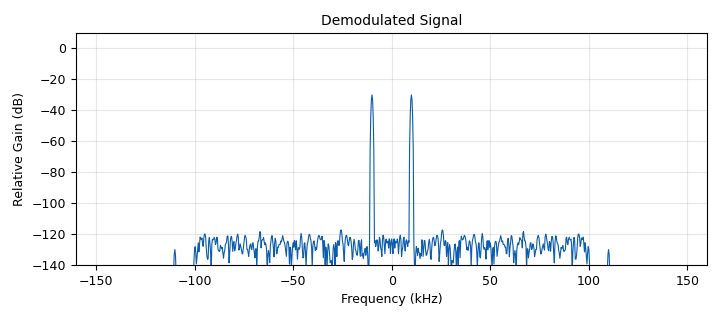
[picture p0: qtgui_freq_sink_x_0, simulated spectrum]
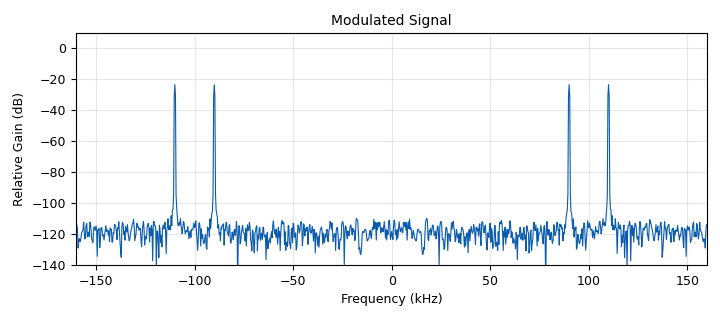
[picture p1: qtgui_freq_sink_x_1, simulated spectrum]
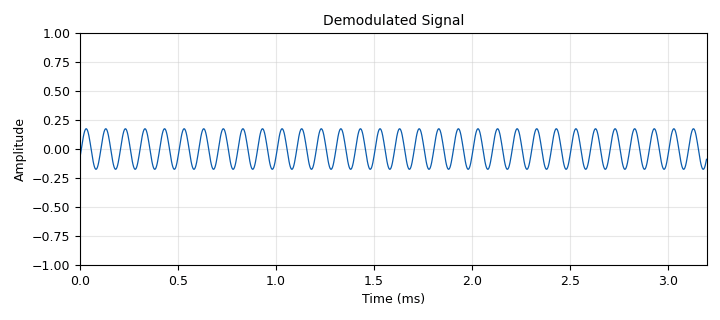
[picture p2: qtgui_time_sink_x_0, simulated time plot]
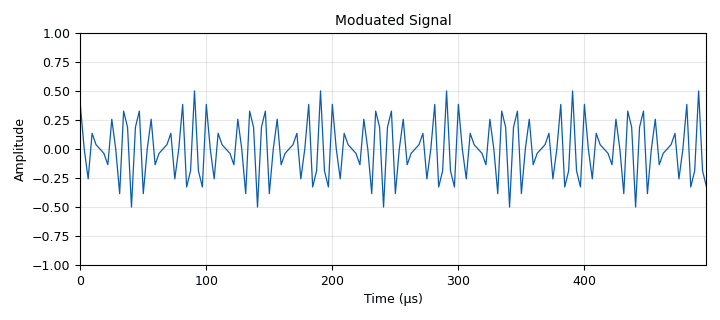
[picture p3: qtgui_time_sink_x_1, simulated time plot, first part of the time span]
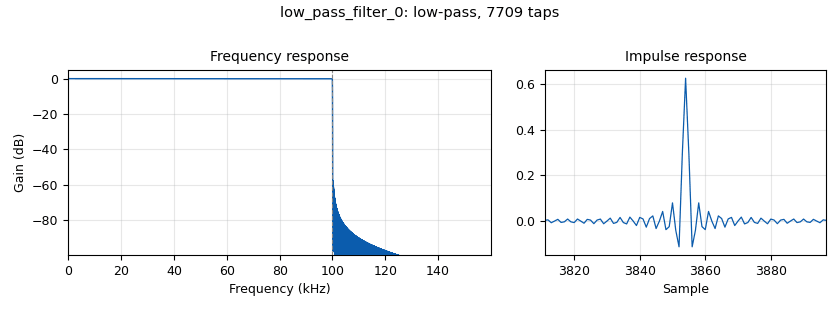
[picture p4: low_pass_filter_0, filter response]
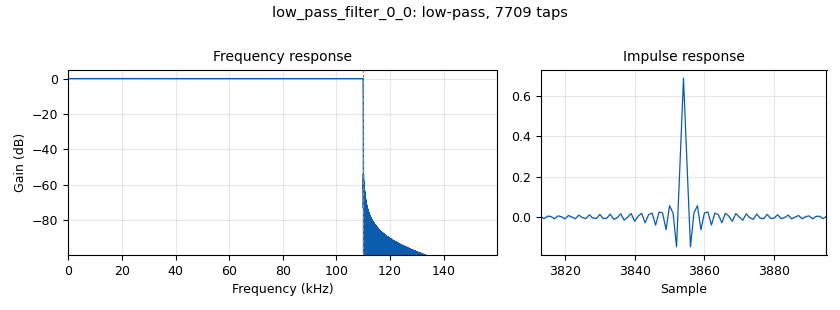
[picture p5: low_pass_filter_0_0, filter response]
options:
  parameters:
    author: Team-12
    generate_options: qt_gui
    id: DSBSC
    output_language: python
    title: DSBSC
  states: {}

blocks:
- name: Message_sig
  id: variable
  parameters:
    value: '10000'
  states: {}
- name: carrier_freq
  id: variable
  parameters:
    value: '100000'
  states: {}
- name: samp_rate
  id: variable
  parameters:
    value: '320000'
  states: {}
- name: uiselect
  id: variable_qtgui_chooser
  parameters:
    label0: Output with Noise
    label1: Output without Noise
    num_opts: '2'
    option0: '0'
    option1: '1'
    type: real
    value: '0'
  states: {}
- name: analog_sig_source_x_0
  id: analog_sig_source_x
  parameters:
    amp: '1'
    freq: Message_sig
    offset: '0'
    phase: '0'
    samp_rate: samp_rate
    type: float
    waveform: analog.GR_COS_WAVE
  states: {}
- name: analog_sig_source_x_1
  id: analog_sig_source_x
  parameters:
    amp: '1'
    freq: carrier_freq
    offset: '0'
    phase: '0'
    samp_rate: samp_rate
    type: float
    waveform: analog.GR_COS_WAVE
  states: {}
- name: analog_sig_source_x_1_0
  id: analog_sig_source_x
  parameters:
    amp: '1'
    freq: carrier_freq
    offset: '0'
    phase: '0'
    samp_rate: samp_rate
    type: float
    waveform: analog.GR_COS_WAVE
  states: {}
- name: blocks_complex_to_float_0
  id: blocks_complex_to_float
  parameters: {}
  states: {}
- name: blocks_float_to_complex_0
  id: blocks_float_to_complex
  parameters: {}
  states: {}
- name: blocks_multiply_const_vxx_0
  id: blocks_multiply_const_vxx
  parameters:
    const: '0.5'
    type: float
  states: {}
- name: blocks_multiply_xx_0
  id: blocks_multiply_xx
  parameters:
    type: float
  states: {}
- name: blocks_multiply_xx_1
  id: blocks_multiply_xx
  parameters:
    type: float
  states: {}
- name: blocks_selector_0
  id: blocks_selector
  parameters:
    enabled: 'True'
    input_index: uiselect
    num_inputs: '2'
    num_outputs: '1'
    output_index: '0'
    type: float
  states: {}
- name: blocks_throttle_0
  id: blocks_throttle
  parameters:
    samples_per_second: samp_rate
    type: float
  states: {}
- name: blocks_throttle_0_0
  id: blocks_throttle
  parameters:
    samples_per_second: samp_rate
    type: float
  states: {}
- name: channels_channel_model_0
  id: channels_channel_model
  parameters:
    epsilon: '1.0'
    freq_offset: '0.0'
    noise_voltage: '100e-6'
    seed: '0'
    taps: 1.0 + 1.0j
  states: {}
- name: low_pass_filter_0
  id: low_pass_filter
  parameters:
    cutoff_freq: carrier_freq
    decim: '1'
    gain: '1'
    samp_rate: samp_rate
    type: fir_filter_fff
    width: '100'
    win: firdes.WIN_HAMMING
  states: {}
- name: low_pass_filter_0_0
  id: low_pass_filter
  parameters:
    cutoff_freq: '110000'
    decim: '1'
    gain: '1'
    samp_rate: samp_rate
    type: fir_filter_fff
    width: '100'
    win: firdes.WIN_HAMMING
  states: {}
- name: qtgui_freq_sink_x_0
  id: qtgui_freq_sink_x
  parameters:
    bw: samp_rate
    fc: '0'
    fftsize: '1024'
    name: Demodulated Signal
    type: float
    wintype: firdes.WIN_BLACKMAN_hARRIS
  states: {}
- name: qtgui_freq_sink_x_1
  id: qtgui_freq_sink_x
  parameters:
    bw: samp_rate
    fc: '0'
    fftsize: '1024'
    name: Modulated Signal
    type: float
    wintype: firdes.WIN_HAMMING
  states: {}
- name: qtgui_time_sink_x_0
  id: qtgui_time_sink_x
  parameters:
    gui_hint: 2,0
    name: Demodulated Signal
    size: '1024'
    srate: samp_rate
    type: float
  states: {}
- name: qtgui_time_sink_x_1
  id: qtgui_time_sink_x
  parameters:
    name: Moduated Signal
    size: '1024'
    srate: samp_rate
    type: float
  states: {}

connections:
- [analog_sig_source_x_0, '0', blocks_multiply_const_vxx_0, '0']
- [analog_sig_source_x_1, '0', blocks_multiply_xx_0, '1']
- [analog_sig_source_x_1_0, '0', blocks_multiply_xx_1, '1']
- [blocks_complex_to_float_0, '0', blocks_throttle_0, '0']
- [blocks_float_to_complex_0, '0', channels_channel_model_0, '0']
- [blocks_multiply_const_vxx_0, '0', blocks_multiply_xx_0, '0']
- [blocks_multiply_xx_0, '0', blocks_float_to_complex_0, '0']
- [blocks_multiply_xx_1, '0', low_pass_filter_0, '0']
- [blocks_selector_0, '0', qtgui_freq_sink_x_1, '0']
- [blocks_selector_0, '0', qtgui_time_sink_x_1, '0']
- [blocks_throttle_0, '0', blocks_selector_0, '0']
- [blocks_throttle_0, '0', low_pass_filter_0_0, '0']
- [blocks_throttle_0_0, '0', qtgui_freq_sink_x_0, '0']
- [blocks_throttle_0_0, '0', qtgui_time_sink_x_0, '0']
- [channels_channel_model_0, '0', blocks_complex_to_float_0, '0']
- [low_pass_filter_0, '0', blocks_throttle_0_0, '0']
- [low_pass_filter_0_0, '0', blocks_multiply_xx_1, '0']
- [low_pass_filter_0_0, '0', blocks_selector_0, '1']

metadata:
  file_format: 1
